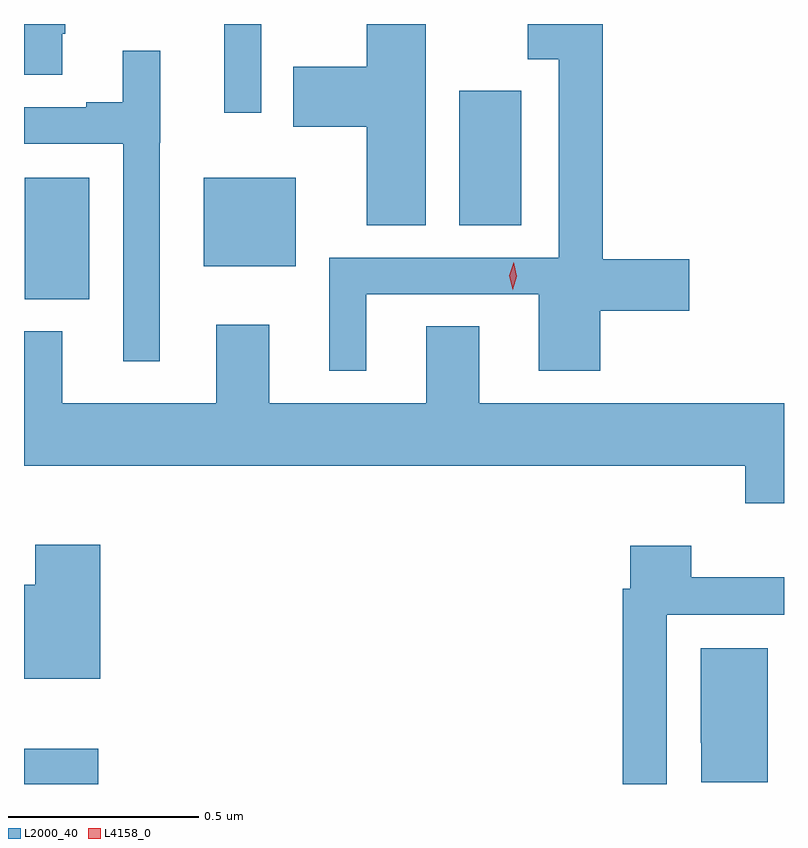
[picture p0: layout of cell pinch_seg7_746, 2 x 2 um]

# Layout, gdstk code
import gdstk
lib = gdstk.Library(unit=1e-6, precision=1e-09)
def R(c, l, rs):  # rectangles x0, y0, x1, y1
    for r in rs: c.add(gdstk.rectangle(r[:2], r[2:], *l))
def P(c, l, *ps):  # polygons
    for p in ps: c.add(gdstk.Polygon(p, *l))
L2000_40 = (2000, 40)
L4158_0 = (4158, 0)

pinch_seg7_746 = lib.new_cell('pinch_seg7_746')
R(pinch_seg7_746, L2000_40, [(337.143,1037.074,337.339,1037.167), (337.145,1038.35,337.315,1038.67), (337.616,1038.437,337.858,1038.67), (338.288,1038.544,338.452,1038.898), (337.67,1038.84,337.767,1039.074)])
P(pinch_seg7_746, L2000_40, [(337.243,1039.048),(337.251,1039.048),(337.251,1039.074),(337.143,1039.074),(337.143,1038.94),(337.243,1038.94)],
  [(338.044,1038.363),(338.498,1038.363),(338.498,1038.162),(338.66,1038.162),(338.66,1038.32),(338.893,1038.32),(338.893,1038.455),(338.666,1038.455),(338.666,1039.074),(338.469,1039.074),(338.469,1038.981),(338.55,1038.981),(338.55,1038.459),(337.946,1038.459),(337.946,1038.162),(338.044,1038.162)],
  [(338.2,1039.074),(338.045,1039.074),(338.045,1038.961),(337.852,1038.961),(337.852,1038.803),(338.045,1038.803),(338.045,1038.544),(338.2,1038.544)],
  [(337.5,1038.762),(337.501,1038.762),(337.501,1039.003),(337.403,1039.003),(337.403,1038.868),(337.307,1038.868),(337.307,1038.855),(337.143,1038.855),(337.143,1038.759),(337.404,1038.759),(337.404,1038.186),(337.5,1038.186)],
  [(339.143,1038.076),(338.341,1038.076),(338.341,1038.278),(338.201,1038.278),(338.201,1038.076),(337.789,1038.076),(337.789,1038.283),(337.649,1038.283),(337.649,1038.076),(337.243,1038.076),(337.243,1038.265),(337.143,1038.265),(337.143,1037.912),(339.041,1037.912),(339.041,1037.813),(339.143,1037.813)],
  [(337.343,1037.704),(337.172,1037.704),(337.172,1037.599),(337.143,1037.599),(337.143,1037.351),(337.343,1037.351)],
  [(338.835,1037.52),(339.143,1037.52),(339.143,1037.618),(338.899,1037.618),(338.899,1037.701),(338.738,1037.701),(338.738,1037.588),(338.719,1037.588),(338.719,1037.074),(338.835,1037.074)],
  [(339.1,1037.431),(338.924,1037.431),(338.924,1037.182),(338.925,1037.182),(338.925,1037.079),(339.1,1037.079)])
P(pinch_seg7_746, L4158_0, [(338.429,1038.375),(338.429,1038.375),(338.42,1038.411),(338.432,1038.447),(338.432,1038.447),(338.432,1038.447),(338.44,1038.41),(338.429,1038.375)])

lib.write_gds('pinch_seg7_746.gds')
